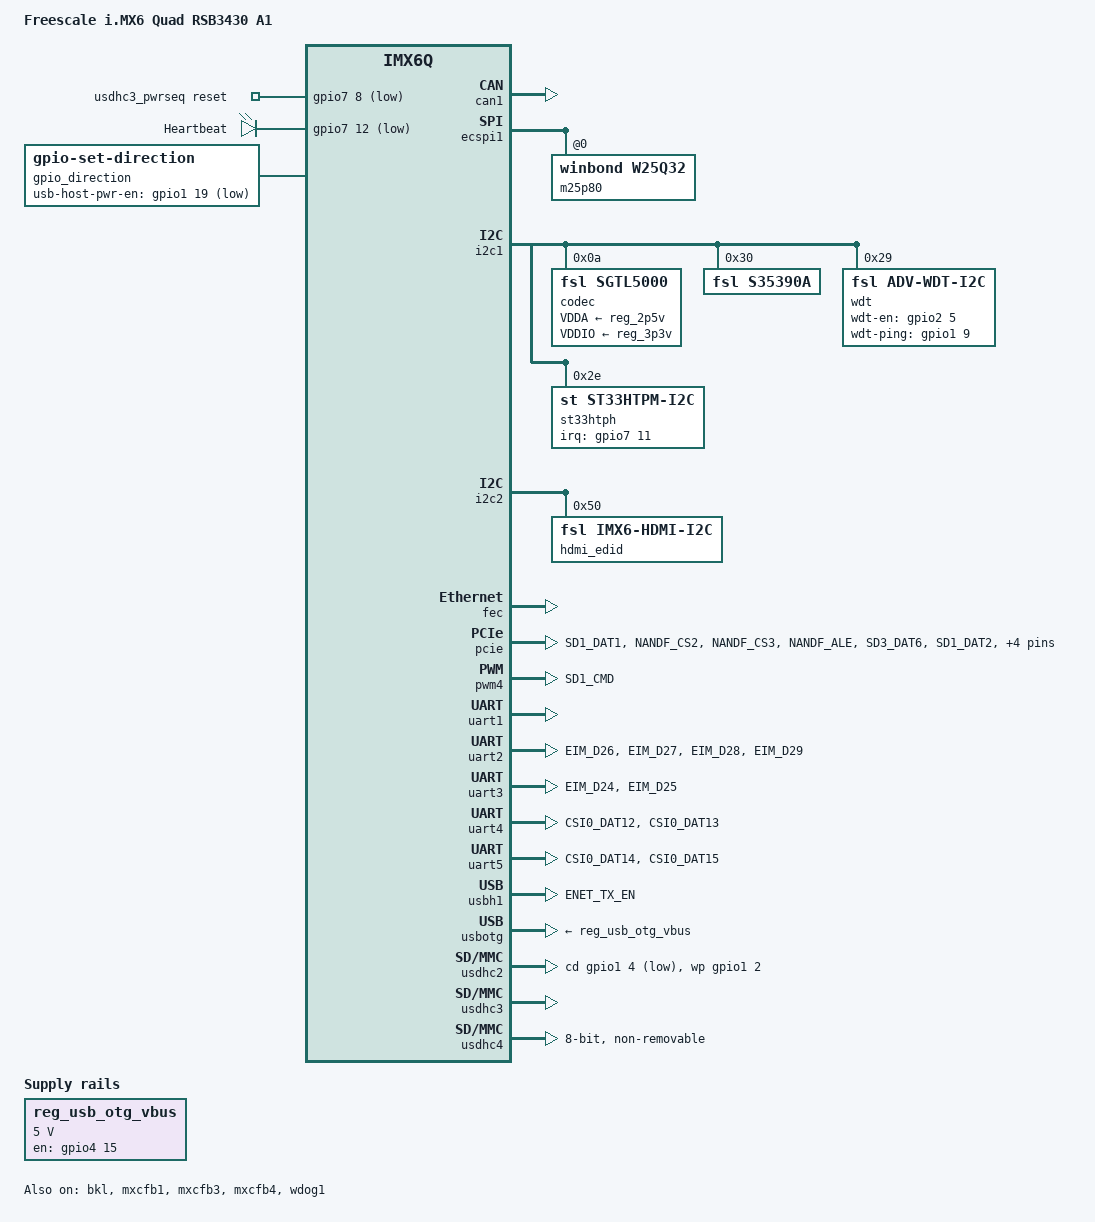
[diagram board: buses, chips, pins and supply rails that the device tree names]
/*
 * Copyright 2012 Freescale Semiconductor, Inc.
 * Copyright 2011 Linaro Ltd.
 *
 * The code contained herein is licensed under the GNU General Public
 * License. You may obtain a copy of the GNU General Public License
 * Version 2 or later at the following locations:
 *
 * http://www.opensource.org/licenses/gpl-license.html
 * http://www.gnu.org/copyleft/gpl.html
 */

/dts-v1/;

#include "imx6q.dtsi"
#include "imx6qdl-advantech.dtsi"

/ {
	model = "Freescale i.MX6 Quad RSB3430 A1";
	compatible = "fsl,imx6q-sabresd", "fsl,imx6q";

	board {
		compatible = "proc-board";
		board-type = "RSB-3430 A1";
		board-cpu = "DualQuad";
	};

	regulators {

		reg_usb_otg_vbus: usb_otg_vbus {
			compatible = "regulator-fixed";
			regulator-name = "usb_otg_vbus";
			regulator-min-microvolt = <5000000>;
			regulator-max-microvolt = <5000000>;
			gpio = <&gpio4 15  GPIO_ACTIVE_HIGH>;
			enable-active-high;
		};
	};

	usdhc3_pwrseq: usdhc3_pwrseq {
                compatible = "mmc-pwrseq-simple";
                reset-gpios = 	<&gpio7 8 GPIO_ACTIVE_LOW>; /* SD3_RESET# */
        };

	leds {
		compatible = "gpio-leds";
		pinctrl-names = "default";
		pinctrl-0 = <&pinctrl_leds_debug_1>;
		debug-led {
			label = "Heartbeat";
			gpios = <&gpio7 12 GPIO_ACTIVE_LOW>;
			linux,default-trigger = "heartbeat";
		};
	};
	
	gpio_direction {
		pinctrl-names = "default";
		compatible = "gpio-set-direction";
		usb-host-pwr-en = <&gpio1 19 1>; /* MINICARD_PWR_EN */
	};
};

&audio_sgtl5000 {
	audio-codec = <&codec>;
};

&bkl {
	pinctrl-0 = <&pinctrl_lvds_bkl_2 &pinctrl_lvds_vcc_1 &pinctrl_bklt_vcc_1>;
	lvds-bkl-enable = <&gpio1 20 GPIO_ACTIVE_LOW>;
	lvds-vcc-enable = <&gpio4 7 GPIO_ACTIVE_HIGH>;
	bklt-vcc-enable = <&gpio4 6 GPIO_ACTIVE_HIGH>;
	pwms = <&pwm4 0 5000000>;
	status = "okay";
};

&can1 {
	pinctrl-names = "default";
	pinctrl-0 = <&pinctrl_flexcan1_1>;
	status = "okay";
};

&ecspi1 {
	m25p80@0 {
		compatible = "winbond,w25q32";
	};
};

&i2c1 {
	codec: sgtl5000@a {
		compatible = "fsl,sgtl5000";
		reg = <0x0a>;
		clocks = <&clks 201>;
		VDDA-supply = <&reg_2p5v>;
		VDDIO-supply = <&reg_3p3v>;
		mclk = <16000000>;
		mclk_source = <0>;
	};

	s35390a@30 {
		compatible = "fsl,s35390a";
		reg = <0x30>;
	};

	wdt@29 {
		compatible = "fsl,adv-wdt-i2c";
		pinctrl-names = "default";
		pinctrl-0 = <&pinctrl_wdt_en_1 &pinctrl_wdt_ping_1>;
		status = "okay";
		wdt-en = <&gpio2 5 0>;
		wdt-ping = <&gpio1 9 0>;
		reg = <0x29>;
	};

	st33htph@2e {
		compatible = "st,st33htpm-i2c";
		reg= <0x2e>;
		pinctrl-names = "default";
		pinctrl-0 = <&pinctrl_tpm>;
		interrupt-parent = <&gpio7>;
		interrupts = <11 IRQ_TYPE_LEVEL_HIGH>;
	};
};

&i2c2 {
	hdmi_edid: edid@50 {
		compatible = "fsl,imx6-hdmi-i2c";
		reg = <0x50>;
	};
};

&iomuxc {
	pinctrl-names = "default";
	pinctrl-0 = <&pinctrl_hog_1 &pinctrl_hog_2>;

	hog {
		pinctrl_hog_1: hoggrp-1 {
			fsl,pins = <
				MX6QDL_PAD_GPIO_2__GPIO1_IO02		0x80000000	/* SD card - SD2_WP */
				MX6QDL_PAD_GPIO_4__GPIO1_IO04		0x80000000	/* SD card - SD2_CD */
				MX6QDL_PAD_EIM_D30__GPIO3_IO30		0x0001B0B0	/* BORAD_ID0 */
				MX6QDL_PAD_EIM_D31__GPIO3_IO31		0x0001B0B0	/* BORAD_ID1 */
				MX6QDL_PAD_GPIO_0__CCM_CLKO1            0x130b0		/* AUDIO CLK */
			>;
		};

		pinctrl_hog_2: hoggrp-2 {
			fsl,pins = <
				MX6QDL_PAD_SD3_RST__GPIO7_IO08		0x0001B0B0	/* SD3_RST# */
				MX6QDL_PAD_SD3_DAT7__GPIO6_IO17		0x0001B0B0	/* SD3_WAKE# */
				MX6QDL_PAD_SD1_DAT3__GPIO1_IO21		0x0001B0B0	/* UART1_WAKE# */
				MX6QDL_PAD_DISP0_DAT0__GPIO4_IO21	0x80000000	/* GPIO1 */
				MX6QDL_PAD_DISP0_DAT1__GPIO4_IO22	0x80000000	/* GPIO2 */
				MX6QDL_PAD_DISP0_DAT2__GPIO4_IO23	0x80000000	/* GPIO3 */
				MX6QDL_PAD_DISP0_DAT3__GPIO4_IO24	0x80000000	/* GPIO4 */
				MX6QDL_PAD_DISP0_DAT4__GPIO4_IO25	0x80000000	/* GPIO5 */
				MX6QDL_PAD_DISP0_DAT5__GPIO4_IO26	0x80000000	/* GPIO6 */
				MX6QDL_PAD_DISP0_DAT6__GPIO4_IO27	0x80000000	/* GPIO7 */
				MX6QDL_PAD_DISP0_DAT7__GPIO4_IO28	0x80000000	/* GPIO8 */
				MX6QDL_PAD_DISP0_DAT8__GPIO4_IO29	0x80000000	/* GPIO9 */
				MX6QDL_PAD_DISP0_DAT9__GPIO4_IO30	0x80000000	/* GPIO10 */
				MX6QDL_PAD_DISP0_DAT10__GPIO4_IO31	0x80000000	/* GPIO11 */
				MX6QDL_PAD_DISP0_DAT11__GPIO5_IO05	0x80000000	/* GPIO12 */
				MX6QDL_PAD_DISP0_DAT12__GPIO5_IO06	0x80000000	/* UART2_MODE0 */
				MX6QDL_PAD_DISP0_DAT13__GPIO5_IO07	0x80000000	/* UART2_MODE1 */
				MX6QDL_PAD_DISP0_DAT14__GPIO5_IO08	0x80000000	/* UART2_TERM */
				MX6QDL_PAD_DISP0_DAT15__GPIO5_IO09	0x80000000	/* UART2_SLEW */
			>;
		};
	};

	leds {
		pinctrl_leds_debug_1: leds_debug1grp-1{
			fsl,pins = <
				MX6QDL_PAD_GPIO_17__GPIO7_IO12		0x80000000	/* GPIO_LED# */
			>;
		};
	};

	pcie {
		pinctrl_pcie_1: pcie1grp-1 {
			fsl,pins = <
				MX6QDL_PAD_SD1_DAT1__GPIO1_IO17		0x80000000	/* M2_PWR_EN */
				MX6QDL_PAD_NANDF_CS2__GPIO6_IO15	0x80000000	/* M2_RESET#_3V3 */
				MX6QDL_PAD_NANDF_CS3__GPIO6_IO16	0x80000000	/* M2_W_DIS1#_3V3 */
				MX6QDL_PAD_NANDF_ALE__GPIO6_IO08	0x80000000	/* M2_W_DIS2#_3V3 */
				MX6QDL_PAD_SD3_DAT6__GPIO6_IO18		0x80000000	/* M2_IRQ# */
				MX6QDL_PAD_SD1_DAT2__GPIO1_IO19		0x80000000	/* MINICARD_PWR_EN */
				MX6QDL_PAD_NANDF_RB0__GPIO6_IO10	0x80000000	/* MINICARD_RESET# */
				MX6QDL_PAD_NANDF_D0__GPIO2_IO00		0x80000000	/* MINICARD_W_DIS# */
				MX6QDL_PAD_NANDF_D4__GPIO2_IO04		0x80000000	/* MINICARD_DET# */
			>;
		};
	};

	pwm4 {
		pinctrl_pwm4_1: pwm4grp-1 {
			fsl,pins = <
				MX6QDL_PAD_SD1_CMD__PWM4_OUT		0x1b0b1
			>;
		};
	};

	spi1 {
		pinctrl_ecspi1_cs_0: ecspi1_cs_grp-0 {
			fsl,pins = <
				MX6QDL_PAD_EIM_EB2__GPIO2_IO30		0x80000000	/* ECSPI1_CS0 */
			>;
		};
	};

	uart2 {
		pinctrl_uart2_3: uart2grp-3 { /* DCE mode */
			fsl,pins = <
				MX6QDL_PAD_EIM_D26__UART2_TX_DATA 0x1b0b1
				MX6QDL_PAD_EIM_D27__UART2_RX_DATA 0x1b0b1
				MX6QDL_PAD_EIM_D28__UART2_CTS_B   0x1b0b1
				MX6QDL_PAD_EIM_D29__UART2_RTS_B   0x1b0b1
			>;
		};
	};

	uart3 {
		pinctrl_uart3_2: uart3grp-2 {
			fsl,pins = <
				MX6QDL_PAD_EIM_D24__UART3_TX_DATA 0x1b0b1
				MX6QDL_PAD_EIM_D25__UART3_RX_DATA 0x1b0b1
			>;
		};
	};

	uart4 {
		pinctrl_uart4_2: uart4grp-2 {
			fsl,pins = <
				MX6QDL_PAD_CSI0_DAT12__UART4_TX_DATA 0x1b0b1
				MX6QDL_PAD_CSI0_DAT13__UART4_RX_DATA 0x1b0b1
			>;
		};
	};

	uart5 {
		pinctrl_uart5_2: uart5grp-2 {
			fsl,pins = <
				MX6QDL_PAD_CSI0_DAT14__UART5_TX_DATA 0x1b0b1
				MX6QDL_PAD_CSI0_DAT15__UART5_RX_DATA 0x1b0b1
			>;
		};
	};

	usbh1 {
		pinctrl_usbh1_1: usbh1_grp-1 {
			fsl,pins = <
				MX6QDL_PAD_ENET_TX_EN__GPIO1_IO28	0x80000000	/* USB_HOST_PWR_EN */
			>;
		};
	};

//	usbotg {
//		pinctrl_usbotg_pwr_1: usbotg_pwr_grp-1 {
//			fsl,pins = <
//				MX6QDL_PAD_KEY_ROW4__GPIO4_IO15		0x80000000	/* USB_OTG_PWR_EN */
//			>;
//		};
//	};


	wdt{
		pinctrl_wdt_en_1: wdt_engrp-1 {
			fsl,pins = <
				MX6QDL_PAD_NANDF_D5__GPIO2_IO05		0x80000000
			>;
		};

		pinctrl_wdt_ping_1: wdt_pinggrp-1 {
			fsl,pins = <
				MX6QDL_PAD_GPIO_9__GPIO1_IO09		0x80000000
			>;
		};
	};

	tpm {
		pinctrl_tpm: tpm_grp {
			fsl,pins = <
				MX6QDL_PAD_GPIO_7__GPIO1_IO07		0x80000000	/* TPM_PP */
				MX6QDL_PAD_GPIO_16__GPIO7_IO11		0x80000000	/* TPM_IRQ# */
			>;
		};
	};
};


//&lcd {
//	status = "disabled";
//};

&fec {
	pinctrl-names = "default";
	pinctrl-0 = <&pinctrl_enet1_1 &pinctrl_enet1_rst_1>;
	//phy-reset-gpios = <&gpio1 25 1>; /* GPIO_ACTIVE_LOW 1 */
	//phy-reset-duration = <20>;
	status = "okay";
};

&mxcfb1 {
	status = "okay";
};

&mxcfb3 {
	status = "okay";
};

&mxcfb4 {
	status = "okay";
};

&pcie {
	pinctrl-names = "default";
	pinctrl-0 = <&pinctrl_pcie_1>;
	power-on-gpio = <&gpio1 17 GPIO_ACTIVE_HIGH>;
	disable-gpio = <&gpio6 16 GPIO_ACTIVE_HIGH>; /* M2_W_DIS1# */
	reset-gpio = <&gpio6 15 GPIO_ACTIVE_LOW>;
	status = "okay";
};

&pwm4 {
	pinctrl-names = "default";
	pinctrl-0 = <&pinctrl_pwm4_1>;
	status = "okay";
};

&snvs_rtc {
	status = "disabled";
};

&uart1 {
	pinctrl-names = "default";
	pinctrl-0 = <&pinctrl_uart1_1>;
	status = "okay";
};

&uart2 {
	pinctrl-names = "default";
	pinctrl-0 = <&pinctrl_uart2_3>;
	fsl,uart-has-rtscts;
	status = "okay";
};

&uart3 {
	pinctrl-names = "default";
	pinctrl-0 = <&pinctrl_uart3_2>;
	status = "okay";
};

&uart4 {
	pinctrl-names = "default";
	pinctrl-0 = <&pinctrl_uart4_2>;
	status = "okay";
};

&uart5 {
	pinctrl-names = "default";
	pinctrl-0 = <&pinctrl_uart5_2>;
	status = "okay";
};

&usbh1 {
	pinctrl-names = "default";
	pinctrl-0 = <&pinctrl_usbh1_1>;
	status = "okay";
};

&usbotg {
	pinctrl-names = "default";
//	pinctrl-0 = <&pinctrl_usbotg_2 &pinctrl_usbotg_pwr_1>;
        pinctrl-0 = <&pinctrl_usbotg_2>;
        vbus-supply = <&reg_usb_otg_vbus>;
        disable-over-current;
        status = "okay";
};

&usdhc2 {
	pinctrl-names = "default";
	pinctrl-0 = <&pinctrl_usdhc2_2>;
	cd-gpios = <&gpio1 4 GPIO_ACTIVE_LOW>;
	wp-gpios = <&gpio1 2 GPIO_ACTIVE_HIGH>;
	no-1-8-v;
	keep-power-in-suspend;
	enable-sdio-wakeup;
	status = "okay";
};

&usdhc3 {
	pinctrl-names = "default";
	pinctrl-0 = <&pinctrl_usdhc3_2>;
	mmc-pwrseq = <&usdhc3_pwrseq>;
	enable-sdio-wakeup;
	status = "okay";
};

&usdhc4 {
	pinctrl-names = "default";
	pinctrl-0 = <&pinctrl_usdhc4_1>;
	bus-width = <8>;
	non-removable;
	no-1-8-v;
	keep-power-in-suspend;
	status = "okay";
};

&wdog1 {
	status = "okay";
};
